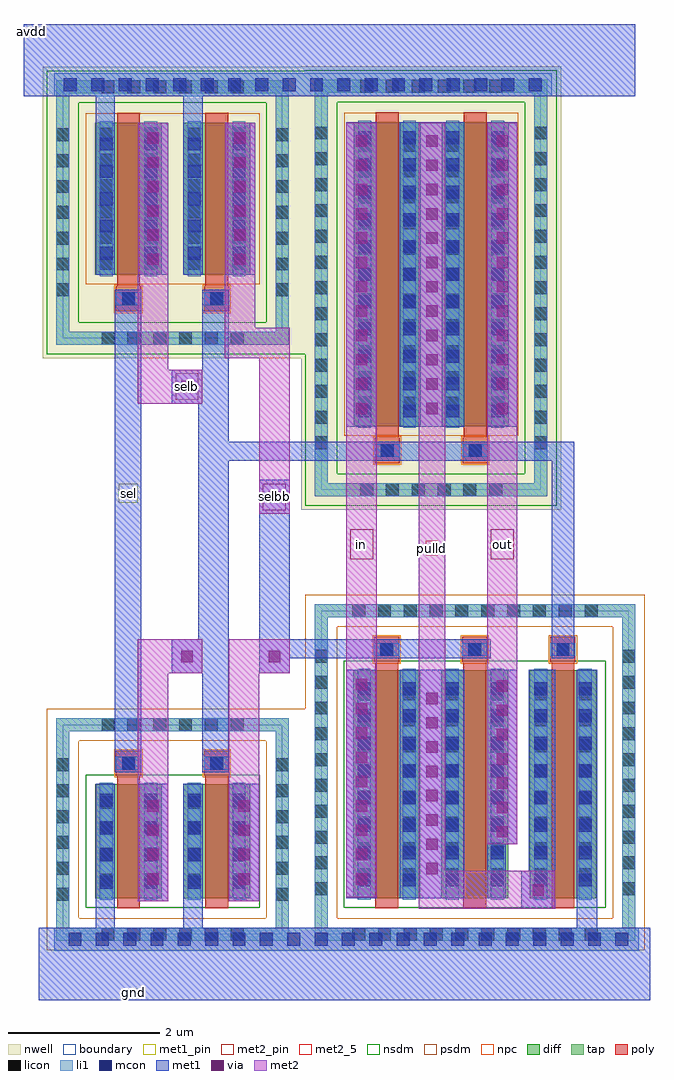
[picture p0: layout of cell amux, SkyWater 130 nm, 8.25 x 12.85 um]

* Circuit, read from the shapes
.subckt amux avdd gnd in out pulld sel selb selbb
XM1 selb sel gnd gnd sky130_fd_pr__nfet_01v8 w=1.5 l=0.3
XM2 selbb selb gnd gnd sky130_fd_pr__nfet_01v8 w=1.5 l=0.3
XM3 pulld selbb in gnd sky130_fd_pr__nfet_01v8 w=3 l=0.3
XM4 out selbb pulld gnd sky130_fd_pr__nfet_01v8 w=3 l=0.3
XM5 gnd selb pulld gnd sky130_fd_pr__nfet_01v8 w=3 l=0.3
XM6 selb sel avdd avdd sky130_fd_pr__pfet_01v8 w=2 l=0.3
XM7 selbb selb avdd avdd sky130_fd_pr__pfet_01v8 w=2 l=0.3
XM8 pulld selb in avdd sky130_fd_pr__pfet_01v8 w=4 l=0.3
XM9 out selb pulld avdd sky130_fd_pr__pfet_01v8 w=4 l=0.3
.ends

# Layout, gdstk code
import gdstk
lib = gdstk.Library(unit=1e-6, precision=1e-09)
def R(c, l, rs):  # rectangles x0, y0, x1, y1
    for r in rs: c.add(gdstk.rectangle(r[:2], r[2:], *l))
def A(c, l, x, y, w, h, nx, ny, dx, dy):  # array of equal rectangles
    R(c, l, [(x+i*dx, y+j*dy, x+i*dx+w, y+j*dy+h) for i in range(nx) for j in range(ny)])
nwell = (64, 20)
diff = (65, 20)
tap = (65, 44)
poly = (66, 20)
licon = (66, 44)
li1 = (67, 20)
mcon = (67, 44)
met1_pin = (68, 16)
met1 = (68, 20)
via = (68, 44)
met2_5 = (69, 5)
met2_pin = (69, 16)
met2 = (69, 20)
nsdm = (93, 44)
psdm = (94, 20)
npc = (95, 20)
boundary = (235, 4)

sky130_fd_pr__pfet_01v8_ = lib.new_cell('sky130_fd_pr__pfet_01v8_XPMEXS')
R(sky130_fd_pr__pfet_01v8_, nwell, [(-1.71,-1.92,1.71,1.92)])
R(sky130_fd_pr__pfet_01v8_, diff, [(-1.02,-0.82,-0.14,1.18), (0.14,-0.82,1.02,1.18)])
R(sky130_fd_pr__pfet_01v8_, tap, [(-1.53,-1.74,1.53,-1.57), (-1.53,-1.57,-1.36,1.57), (1.36,-1.57,1.53,1.57), (-1.53,1.57,1.53,1.74)])
R(sky130_fd_pr__pfet_01v8_, poly, [(-0.745,-1.305,-0.415,-0.975), (0.415,-1.305,0.745,-0.975), (-0.73,-0.975,-0.43,1.31), (0.43,-0.975,0.73,1.31)])
A(sky130_fd_pr__pfet_01v8_, licon, -0.935, -1.74, 0.17, 0.17, 6, 2, 0.34, 3.31)
A(sky130_fd_pr__pfet_01v8_, licon, -1.53, -1.105, 0.17, 0.17, 1, 7, 0, 0.34)
A(sky130_fd_pr__pfet_01v8_, licon, 1.36, -1.105, 0.17, 0.17, 1, 7, 0, 0.34)
A(sky130_fd_pr__pfet_01v8_, licon, -0.96, -0.755, 0.17, 0.17, 1, 6, 0, 0.34)
A(sky130_fd_pr__pfet_01v8_, licon, -0.37, -0.755, 0.17, 0.17, 1, 6, 0, 0.34)
A(sky130_fd_pr__pfet_01v8_, licon, 0.2, -0.755, 0.17, 0.17, 1, 6, 0, 0.34)
A(sky130_fd_pr__pfet_01v8_, licon, 0.79, -0.755, 0.17, 0.17, 1, 6, 0, 0.34)
R(sky130_fd_pr__pfet_01v8_, licon, [(-0.665,-1.225,-0.495,-1.055), (0.495,-1.225,0.665,-1.055)])
R(sky130_fd_pr__pfet_01v8_, li1, [(-1.53,-1.74,1.53,-1.57), (-1.53,-1.57,-1.36,1.57), (1.36,-1.57,1.53,1.57), (-0.745,-1.225,-0.415,-1.055), (0.415,-1.225,0.745,-1.055), (-0.96,-0.84,-0.79,1.2), (-0.37,-0.84,-0.2,1.2), (0.2,-0.84,0.37,1.2), (0.79,-0.84,0.96,1.2), (-1.53,1.57,1.53,1.74)])
A(sky130_fd_pr__pfet_01v8_, mcon, -0.96, -0.625, 0.17, 0.17, 1, 5, 0, 0.36)
A(sky130_fd_pr__pfet_01v8_, mcon, -0.37, -0.625, 0.17, 0.17, 1, 5, 0, 0.36)
A(sky130_fd_pr__pfet_01v8_, mcon, 0.2, -0.625, 0.17, 0.17, 1, 5, 0, 0.36)
A(sky130_fd_pr__pfet_01v8_, mcon, 0.79, -0.625, 0.17, 0.17, 1, 5, 0, 0.36)
R(sky130_fd_pr__pfet_01v8_, mcon, [(-0.665,-1.225,-0.495,-1.055), (0.495,-1.225,0.665,-1.055)])
R(sky130_fd_pr__pfet_01v8_, met1, [(-0.725,-1.255,-0.435,-1.025), (0.435,-1.255,0.725,-1.025), (-0.99,-0.82,-0.76,1.18), (-0.4,-0.82,-0.17,1.18), (0.17,-0.82,0.4,1.18), (0.76,-0.82,0.99,1.18)])
R(sky130_fd_pr__pfet_01v8_, nsdm, [(-1.655,-1.865,1.655,-1.445), (-1.655,-1.445,-1.235,1.445), (1.235,-1.445,1.655,1.445), (-1.655,1.445,1.655,1.865)])
R(sky130_fd_pr__pfet_01v8_, psdm, [(-1.145,-0.945,1.145,1.305)])
R(sky130_fd_pr__pfet_01v8_, npc, [(-0.765,-1.325,-0.395,-0.955), (0.395,-1.325,0.765,-0.955)])
R(sky130_fd_pr__pfet_01v8_, boundary, [(-1.445,-1.655,1.445,1.655)])
sky130_fd_pr__pfet_01v8_.add(gdstk.Label('B', (0,-1.655), layer=67, texttype=5))
sky130_fd_pr__pfet_01v8_.add(gdstk.Label('D0', (-0.875,0.18), layer=67, texttype=5))
sky130_fd_pr__pfet_01v8_.add(gdstk.Label('S0', (-0.285,0.18), layer=67, texttype=5))
sky130_fd_pr__pfet_01v8_.add(gdstk.Label('G0', (-0.58,-1.14), layer=67, texttype=5))
sky130_fd_pr__pfet_01v8_.add(gdstk.Label('D1', (0.875,0.18), layer=67, texttype=5))
sky130_fd_pr__pfet_01v8_.add(gdstk.Label('S1', (0.285,0.18), layer=67, texttype=5))
sky130_fd_pr__pfet_01v8_.add(gdstk.Label('G1', (0.58,-1.14), layer=67, texttype=5))

c_sky130_fd_pr__pfet_01v8_ = lib.new_cell('sky130_fd_pr__pfet_01v8_JRTECF')
R(c_sky130_fd_pr__pfet_01v8_, nwell, [(-1.71,-2.92,1.71,2.92)])
R(c_sky130_fd_pr__pfet_01v8_, diff, [(-1.02,-1.82,-0.14,2.18), (0.14,-1.82,1.02,2.18)])
R(c_sky130_fd_pr__pfet_01v8_, tap, [(-1.53,-2.74,1.53,-2.57), (-1.53,-2.57,-1.36,2.57), (1.36,-2.57,1.53,2.57), (-1.53,2.57,1.53,2.74)])
R(c_sky130_fd_pr__pfet_01v8_, poly, [(-0.745,-2.305,-0.415,-1.975), (0.415,-2.305,0.745,-1.975), (-0.73,-1.975,-0.43,2.31), (0.43,-1.975,0.73,2.31)])
A(c_sky130_fd_pr__pfet_01v8_, licon, -0.935, -2.74, 0.17, 0.17, 6, 2, 0.34, 5.31)
A(c_sky130_fd_pr__pfet_01v8_, licon, -1.53, -2.125, 0.17, 0.17, 1, 13, 0, 0.34)
A(c_sky130_fd_pr__pfet_01v8_, licon, 1.36, -2.125, 0.17, 0.17, 1, 13, 0, 0.34)
A(c_sky130_fd_pr__pfet_01v8_, licon, -0.96, -1.605, 0.17, 0.17, 1, 11, 0, 0.34)
A(c_sky130_fd_pr__pfet_01v8_, licon, -0.37, -1.605, 0.17, 0.17, 1, 11, 0, 0.34)
A(c_sky130_fd_pr__pfet_01v8_, licon, 0.2, -1.605, 0.17, 0.17, 1, 11, 0, 0.34)
A(c_sky130_fd_pr__pfet_01v8_, licon, 0.79, -1.605, 0.17, 0.17, 1, 11, 0, 0.34)
R(c_sky130_fd_pr__pfet_01v8_, licon, [(-0.665,-2.225,-0.495,-2.055), (0.495,-2.225,0.665,-2.055)])
R(c_sky130_fd_pr__pfet_01v8_, li1, [(-1.53,-2.74,1.53,-2.57), (-1.53,-2.57,-1.36,2.57), (1.36,-2.57,1.53,2.57), (-0.745,-2.225,-0.415,-2.055), (0.415,-2.225,0.745,-2.055), (-0.96,-1.84,-0.79,2.2), (-0.37,-1.84,-0.2,2.2), (0.2,-1.84,0.37,2.2), (0.79,-1.84,0.96,2.2), (-1.53,2.57,1.53,2.74)])
A(c_sky130_fd_pr__pfet_01v8_, mcon, -0.96, -1.705, 0.17, 0.17, 1, 11, 0, 0.36)
A(c_sky130_fd_pr__pfet_01v8_, mcon, -0.37, -1.705, 0.17, 0.17, 1, 11, 0, 0.36)
A(c_sky130_fd_pr__pfet_01v8_, mcon, 0.2, -1.705, 0.17, 0.17, 1, 11, 0, 0.36)
A(c_sky130_fd_pr__pfet_01v8_, mcon, 0.79, -1.705, 0.17, 0.17, 1, 11, 0, 0.36)
R(c_sky130_fd_pr__pfet_01v8_, mcon, [(-0.665,-2.225,-0.495,-2.055), (0.495,-2.225,0.665,-2.055)])
R(c_sky130_fd_pr__pfet_01v8_, met1, [(-0.725,-2.255,-0.435,-2.025), (0.435,-2.255,0.725,-2.025), (-0.99,-1.82,-0.76,2.18), (-0.4,-1.82,-0.17,2.18), (0.17,-1.82,0.4,2.18), (0.76,-1.82,0.99,2.18)])
R(c_sky130_fd_pr__pfet_01v8_, nsdm, [(-1.655,-2.865,1.655,-2.445), (-1.655,-2.445,-1.235,2.445), (1.235,-2.445,1.655,2.445), (-1.655,2.445,1.655,2.865)])
R(c_sky130_fd_pr__pfet_01v8_, psdm, [(-1.145,-1.945,1.145,2.305)])
R(c_sky130_fd_pr__pfet_01v8_, npc, [(-0.765,-2.325,-0.395,-1.955), (0.395,-2.325,0.765,-1.955)])
R(c_sky130_fd_pr__pfet_01v8_, boundary, [(-1.445,-2.655,1.445,2.655)])
c_sky130_fd_pr__pfet_01v8_.add(gdstk.Label('B', (0,-2.655), layer=67, texttype=5))
c_sky130_fd_pr__pfet_01v8_.add(gdstk.Label('D0', (-0.875,0.18), layer=67, texttype=5))
c_sky130_fd_pr__pfet_01v8_.add(gdstk.Label('S0', (-0.285,0.18), layer=67, texttype=5))
c_sky130_fd_pr__pfet_01v8_.add(gdstk.Label('G0', (-0.58,-2.14), layer=67, texttype=5))
c_sky130_fd_pr__pfet_01v8_.add(gdstk.Label('D1', (0.875,0.18), layer=67, texttype=5))
c_sky130_fd_pr__pfet_01v8_.add(gdstk.Label('S1', (0.285,0.18), layer=67, texttype=5))
c_sky130_fd_pr__pfet_01v8_.add(gdstk.Label('G1', (0.58,-2.14), layer=67, texttype=5))

sky130_fd_pr__nfet_01v8_ = lib.new_cell('sky130_fd_pr__nfet_01v8_CEBZ9C')
A(sky130_fd_pr__nfet_01v8_, diff, -1.6, -1.655, 0.88, 3, 3, 1, 1.16, 0)
R(sky130_fd_pr__nfet_01v8_, tap, [(-2.11,-2.215,2.11,-2.045), (-2.11,-2.045,-1.94,2.045), (1.94,-2.045,2.11,2.045), (-2.11,2.045,2.11,2.215)])
A(sky130_fd_pr__nfet_01v8_, poly, -1.31, -1.785, 0.3, 3.24, 3, 1, 1.16, 0)
A(sky130_fd_pr__nfet_01v8_, poly, -1.325, 1.455, 0.33, 0.33, 3, 1, 1.16, 0)
A(sky130_fd_pr__nfet_01v8_, licon, -1.615, -2.215, 0.17, 0.17, 10, 2, 0.34, 4.26)
A(sky130_fd_pr__nfet_01v8_, licon, -2.11, -1.615, 0.17, 0.17, 1, 10, 0, 0.34)
A(sky130_fd_pr__nfet_01v8_, licon, 1.94, -1.615, 0.17, 0.17, 1, 10, 0, 0.34)
A(sky130_fd_pr__nfet_01v8_, licon, -1.54, -1.43, 0.17, 0.17, 1, 8, 0, 0.34)
A(sky130_fd_pr__nfet_01v8_, licon, -0.95, -1.43, 0.17, 0.17, 1, 8, 0, 0.34)
A(sky130_fd_pr__nfet_01v8_, licon, -0.38, -1.43, 0.17, 0.17, 1, 8, 0, 0.34)
A(sky130_fd_pr__nfet_01v8_, licon, 0.21, -1.43, 0.17, 0.17, 1, 8, 0, 0.34)
A(sky130_fd_pr__nfet_01v8_, licon, 0.78, -1.43, 0.17, 0.17, 1, 8, 0, 0.34)
A(sky130_fd_pr__nfet_01v8_, licon, 1.37, -1.43, 0.17, 0.17, 1, 8, 0, 0.34)
A(sky130_fd_pr__nfet_01v8_, licon, -1.245, 1.535, 0.17, 0.17, 3, 1, 1.16, 0)
A(sky130_fd_pr__nfet_01v8_, li1, -1.325, 1.535, 0.33, 0.17, 3, 1, 1.16, 0)
R(sky130_fd_pr__nfet_01v8_, li1, [(-2.11,-2.215,2.11,-2.045), (-2.11,-2.045,-1.94,2.045), (1.94,-2.045,2.11,2.045), (-1.54,-1.675,-1.37,1.365), (-0.95,-1.675,-0.78,1.365), (-0.38,-1.675,-0.21,1.365), (0.21,-1.675,0.38,1.365), (0.78,-1.675,0.95,1.365), (1.37,-1.675,1.54,1.365), (-2.11,2.045,2.11,2.215)])
A(sky130_fd_pr__nfet_01v8_, mcon, -1.54, -1.5, 0.17, 0.17, 1, 8, 0, 0.36)
A(sky130_fd_pr__nfet_01v8_, mcon, -0.95, -1.5, 0.17, 0.17, 1, 8, 0, 0.36)
A(sky130_fd_pr__nfet_01v8_, mcon, -0.38, -1.5, 0.17, 0.17, 1, 8, 0, 0.36)
A(sky130_fd_pr__nfet_01v8_, mcon, 0.21, -1.5, 0.17, 0.17, 1, 8, 0, 0.36)
A(sky130_fd_pr__nfet_01v8_, mcon, 0.78, -1.5, 0.17, 0.17, 1, 8, 0, 0.36)
A(sky130_fd_pr__nfet_01v8_, mcon, 1.37, -1.5, 0.17, 0.17, 1, 8, 0, 0.36)
A(sky130_fd_pr__nfet_01v8_, mcon, -1.245, 1.535, 0.17, 0.17, 3, 1, 1.16, 0)
A(sky130_fd_pr__nfet_01v8_, met1, -1.305, 1.505, 0.29, 0.23, 3, 1, 1.16, 0)
R(sky130_fd_pr__nfet_01v8_, met1, [(-1.57,-1.655,-1.34,1.345), (-0.98,-1.655,-0.75,1.345), (-0.41,-1.655,-0.18,1.345), (0.18,-1.655,0.41,1.345), (0.75,-1.655,0.98,1.345), (1.34,-1.655,1.57,1.345)])
R(sky130_fd_pr__nfet_01v8_, nsdm, [(-1.725,-1.78,1.725,1.47)])
R(sky130_fd_pr__nfet_01v8_, psdm, [(-2.235,-2.34,2.235,-1.92), (-2.235,-1.92,-1.815,1.92), (1.815,-1.92,2.235,1.92), (-2.235,1.92,2.235,2.34)])
A(sky130_fd_pr__nfet_01v8_, npc, -1.345, 1.435, 0.37, 0.37, 3, 1, 1.16, 0)
R(sky130_fd_pr__nfet_01v8_, boundary, [(-2.025,-2.13,2.025,2.13)])
sky130_fd_pr__nfet_01v8_.add(gdstk.Label('B', (0,-2.13), layer=67, texttype=5))
sky130_fd_pr__nfet_01v8_.add(gdstk.Label('D0', (-1.455,-0.155), layer=67, texttype=5))
sky130_fd_pr__nfet_01v8_.add(gdstk.Label('S0', (-0.865,-0.155), layer=67, texttype=5))
sky130_fd_pr__nfet_01v8_.add(gdstk.Label('G0', (-1.16,1.62), layer=67, texttype=5))
sky130_fd_pr__nfet_01v8_.add(gdstk.Label('D1', (0.295,-0.155), layer=67, texttype=5))
sky130_fd_pr__nfet_01v8_.add(gdstk.Label('S1', (-0.295,-0.155), layer=67, texttype=5))
sky130_fd_pr__nfet_01v8_.add(gdstk.Label('G1', (0,1.62), layer=67, texttype=5))
sky130_fd_pr__nfet_01v8_.add(gdstk.Label('D2', (0.865,-0.155), layer=67, texttype=5))
sky130_fd_pr__nfet_01v8_.add(gdstk.Label('S2', (1.455,-0.155), layer=67, texttype=5))
sky130_fd_pr__nfet_01v8_.add(gdstk.Label('G2', (1.16,1.62), layer=67, texttype=5))

c_sky130_fd_pr__nfet_01v8_ = lib.new_cell('sky130_fd_pr__nfet_01v8_4H3DC2')
R(c_sky130_fd_pr__nfet_01v8_, diff, [(-1.02,-0.905,-0.14,0.595), (0.14,-0.905,1.02,0.595)])
R(c_sky130_fd_pr__nfet_01v8_, tap, [(-1.53,-1.465,1.53,-1.295), (-1.53,-1.295,-1.36,1.295), (1.36,-1.295,1.53,1.295), (-1.53,1.295,1.53,1.465)])
R(c_sky130_fd_pr__nfet_01v8_, poly, [(-0.73,-1.035,-0.43,0.705), (0.43,-1.035,0.73,0.705), (-0.745,0.705,-0.415,1.035), (0.415,0.705,0.745,1.035)])
A(c_sky130_fd_pr__nfet_01v8_, licon, -0.935, -1.465, 0.17, 0.17, 6, 2, 0.34, 2.76)
A(c_sky130_fd_pr__nfet_01v8_, licon, -1.53, -0.935, 0.17, 0.17, 1, 6, 0, 0.34)
A(c_sky130_fd_pr__nfet_01v8_, licon, 1.36, -0.935, 0.17, 0.17, 1, 6, 0, 0.34)
A(c_sky130_fd_pr__nfet_01v8_, licon, -0.96, -0.75, 0.17, 0.17, 1, 4, 0, 0.34)
A(c_sky130_fd_pr__nfet_01v8_, licon, -0.37, -0.75, 0.17, 0.17, 1, 4, 0, 0.34)
A(c_sky130_fd_pr__nfet_01v8_, licon, 0.2, -0.75, 0.17, 0.17, 1, 4, 0, 0.34)
A(c_sky130_fd_pr__nfet_01v8_, licon, 0.79, -0.75, 0.17, 0.17, 1, 4, 0, 0.34)
R(c_sky130_fd_pr__nfet_01v8_, licon, [(-0.665,0.785,-0.495,0.955), (0.495,0.785,0.665,0.955)])
R(c_sky130_fd_pr__nfet_01v8_, li1, [(-1.53,-1.465,1.53,-1.295), (-1.53,-1.295,-1.36,1.295), (1.36,-1.295,1.53,1.295), (-0.96,-0.925,-0.79,0.615), (-0.37,-0.925,-0.2,0.615), (0.2,-0.925,0.37,0.615), (0.79,-0.925,0.96,0.615), (-0.745,0.785,-0.415,0.955), (0.415,0.785,0.745,0.955), (-1.53,1.295,1.53,1.465)])
A(c_sky130_fd_pr__nfet_01v8_, mcon, -0.96, -0.78, 0.17, 0.17, 1, 4, 0, 0.36)
A(c_sky130_fd_pr__nfet_01v8_, mcon, -0.37, -0.78, 0.17, 0.17, 1, 4, 0, 0.36)
A(c_sky130_fd_pr__nfet_01v8_, mcon, 0.2, -0.78, 0.17, 0.17, 1, 4, 0, 0.36)
A(c_sky130_fd_pr__nfet_01v8_, mcon, 0.79, -0.78, 0.17, 0.17, 1, 4, 0, 0.36)
R(c_sky130_fd_pr__nfet_01v8_, mcon, [(-0.665,0.785,-0.495,0.955), (0.495,0.785,0.665,0.955)])
R(c_sky130_fd_pr__nfet_01v8_, met1, [(-0.99,-0.905,-0.76,0.595), (-0.4,-0.905,-0.17,0.595), (0.17,-0.905,0.4,0.595), (0.76,-0.905,0.99,0.595), (-0.725,0.755,-0.435,0.985), (0.435,0.755,0.725,0.985)])
R(c_sky130_fd_pr__nfet_01v8_, nsdm, [(-1.145,-1.03,1.145,0.72)])
R(c_sky130_fd_pr__nfet_01v8_, psdm, [(-1.655,-1.59,1.655,-1.17), (-1.655,-1.17,-1.235,1.17), (1.235,-1.17,1.655,1.17), (-1.655,1.17,1.655,1.59)])
R(c_sky130_fd_pr__nfet_01v8_, npc, [(-0.765,0.685,-0.395,1.055), (0.395,0.685,0.765,1.055)])
R(c_sky130_fd_pr__nfet_01v8_, boundary, [(-1.445,-1.38,1.445,1.38)])
c_sky130_fd_pr__nfet_01v8_.add(gdstk.Label('B', (0,-1.38), layer=67, texttype=5))
c_sky130_fd_pr__nfet_01v8_.add(gdstk.Label('D0', (-0.875,-0.155), layer=67, texttype=5))
c_sky130_fd_pr__nfet_01v8_.add(gdstk.Label('S0', (-0.285,-0.155), layer=67, texttype=5))
c_sky130_fd_pr__nfet_01v8_.add(gdstk.Label('G0', (-0.58,0.87), layer=67, texttype=5))
c_sky130_fd_pr__nfet_01v8_.add(gdstk.Label('D1', (0.875,-0.155), layer=67, texttype=5))
c_sky130_fd_pr__nfet_01v8_.add(gdstk.Label('S1', (0.285,-0.155), layer=67, texttype=5))
c_sky130_fd_pr__nfet_01v8_.add(gdstk.Label('G1', (0.58,0.87), layer=67, texttype=5))

amux = lib.new_cell('amux')
R(amux, li1, [(-1.95,-5.8,5.75,-5.5), (-1.95,5.45,4.6,5.75)])
A(amux, mcon, -1.76, -5.735, 0.17, 0.17, 21, 1, 0.36, 0)
A(amux, mcon, -1.82, 5.515, 0.17, 0.17, 18, 1, 0.36, 0)
R(amux, met1_pin, [(-0.95,-6.4,-0.85,-6.3), (-1.1,0.1,-0.85,0.35), (-2.3,6.25,-2.2,6.35)])
R(amux, met1, [(-2.15,-6.45,5.9,-5.5), (-1.4,-5.5,-1.15,-3.6), (-0.25,-5.5,0.01,-5.105), (4.93,-5.5,5.2,-5.09), (4.2,-5.25,4.65,-4.75), (-0.85,-5.15,-0.45,-3.6), (0.35,-5.15,0.75,-3.6), (1.9,-5.11,2.3,-2.1), (2.6,-5.11,3.45,-2.1), (3.75,-5.11,3.77,-4.4), (-0.25,-5.105,0,-3.61), (4.95,-5.09,5.2,-2.11), (4.3,-4.75,4.65,-2.1), (3.75,-4.4,4.15,-2.1), (-0.25,-3.61,0.01,-3.6), (-1.15,-3.45,-0.8,2.9), (0,-3.45,0.35,-2.15), (-0.4,-2.15,0.35,-1.7), (0.75,-2.15,1.15,-1.95), (4.93,-2.11,5.2,-2.1), (0.75,-1.95,3.8,-1.7), (4.6,-1.95,4.9,0.65), (-0.05,-1.7,0.35,0.65), (0.75,-1.7,1.15,0.4), (-0.05,0.65,4.9,0.9), (-0.05,0.9,0.35,1.4), (1.9,1.1,2.3,5.105), (2.6,1.1,3.45,5.105), (3.75,1.1,4.15,5.105), (-0.4,1.4,0.35,1.85), (0,1.85,0.35,2.9), (-1.4,3.1,-1.15,5.45), (-0.85,3.1,-0.45,5.1), (-0.25,3.1,0.01,5.45), (0.3,3.1,0.7,5.1), (-2.35,5.45,5.7,6.4)])
A(amux, via, -0.725, -4.93, 0.15, 0.15, 1, 4, 0, 0.32)
A(amux, via, 0.475, -4.93, 0.15, 0.15, 1, 4, 0, 0.32)
A(amux, via, 2.025, -4.93, 0.15, 0.15, 1, 9, 0, 0.32)
A(amux, via, 2.95, -4.795, 0.15, 0.15, 1, 8, 0, 0.32)
A(amux, via, 3.875, -4.31, 0.15, 0.15, 1, 7, 0, 0.32)
A(amux, via, 2.025, 1.265, 0.15, 0.15, 3, 12, 0.925, 0.32)
A(amux, via, -0.725, 3.225, 0.15, 0.15, 1, 6, 0, 0.32)
A(amux, via, 0.425, 3.225, 0.15, 0.15, 1, 6, 0, 0.32)
R(amux, via, [(4.35,-5.075,4.5,-4.925), (-0.275,-2,-0.125,-1.85), (0.875,-2,1.025,-1.85), (0.875,0.1,1.025,0.25), (-0.275,1.55,-0.125,1.7)])
R(amux, met2_5, [(2.945,-0.595,3.1,-0.405), (-0.35,1.45,-0.05,1.8)])
R(amux, met2_pin, [(1.95,-0.65,2.25,-0.25), (3.8,-0.65,4.1,-0.25), (0.8,0,1.1,0.35)])
R(amux, met2, [(2.85,-5.25,4.65,-4.75), (-0.85,-5.15,-0.45,-2.15), (0.35,-5.15,0.75,-2.15), (1.9,-5.1,2.3,5.1), (2.85,-4.75,3.2,5.1), (3.75,-4.4,4.15,5.1), (-0.85,-2.15,0,-1.7), (0.35,-2.15,1.15,-1.7), (0.75,-0.05,1.15,2), (-0.85,1.4,0,1.85), (-0.85,1.85,-0.45,5.1), (0.3,2,1.15,2.4), (0.3,2.4,0.7,5.1)])
R(amux, nsdm, [(1.265,2.055,1.36,5.785)])
R(amux, psdm, [(1.265,-5.795,1.355,-2.615)])
amux.add(gdstk.Reference(sky130_fd_pr__pfet_01v8_, (-0.39,3.92)))
amux.add(gdstk.Reference(c_sky130_fd_pr__pfet_01v8_, (3.015,2.925)))
amux.add(gdstk.Reference(sky130_fd_pr__nfet_01v8_, (3.59,-3.455)))
amux.add(gdstk.Reference(c_sky130_fd_pr__nfet_01v8_, (-0.39,-4.205)))
amux.add(gdstk.Label('selb', (-0.2,1.625), layer=69, texttype=5))
amux.add(gdstk.Label('pulld', (3.022,-0.5), layer=69, texttype=5))
amux.add(gdstk.Label('gnd', (-0.9,-6.35), layer=68, texttype=5))
amux.add(gdstk.Label('in', (2.1,-0.45), layer=69, texttype=5))
amux.add(gdstk.Label('out', (3.95,-0.45), layer=69, texttype=5))
amux.add(gdstk.Label('sel', (-0.975,0.225), layer=68, texttype=5))
amux.add(gdstk.Label('avdd', (-2.25,6.3), layer=68, texttype=5))
amux.add(gdstk.Label('selbb', (0.95,0.175), layer=69, texttype=5))

lib.write_gds('amux.gds')
